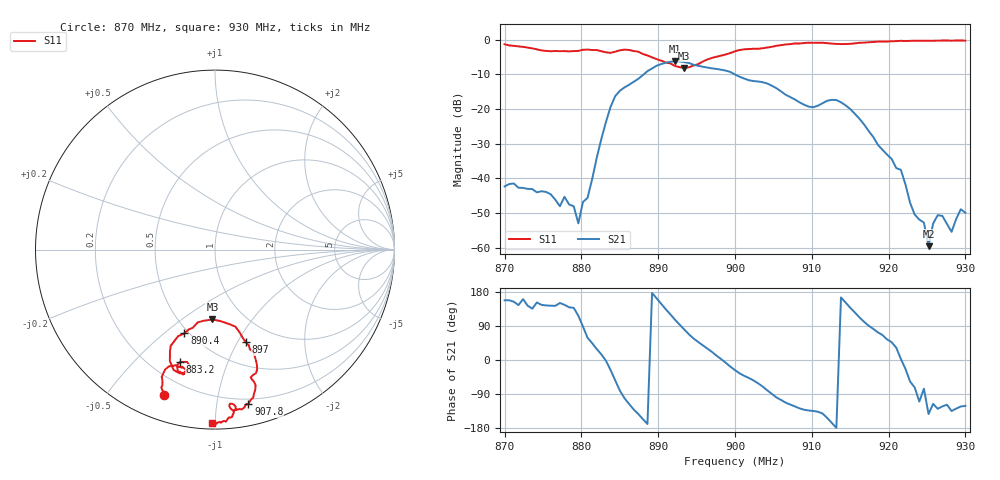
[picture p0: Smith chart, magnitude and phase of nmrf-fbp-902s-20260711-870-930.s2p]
# HZ S RI R 50
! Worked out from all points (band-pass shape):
!   101 points, 870 MHz to 930 MHz, reference 50 ohm
!   highest |S21| = -6.22 dB at 892.2 MHz (marker M1); lowest = -59.5 dB at 925.2 MHz (marker M2)
!   |S21| within 3 dB of the highest: 888.5 MHz to 899.2 MHz (10.72 MHz wide, 1.2 % of centre)
!   lowest |S11| = -8.2 dB at 893.4 MHz (marker M3), VSWR 2.28, Z = 35.9 - j33 ohm
!   |S11| at or under -10 dB: nowhere
!   S12 and S22 are empty: the file has one direction only
!   S11 on the Smith chart (normalised r, x): 870 MHz: 0.11, -0.70; 883.2 MHz: 0.31, -0.69; 890.4 MHz: 0.47, -0.59; 897 MHz: 0.74, -1.09; 907.8 MHz: 0.16, -1.23; 930 MHz: 0.03, -0.98
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8.7e8  -0.2815 -0.8103  -0.00712 0.00294  0 0  0 0
8.778e8  -0.1856 -0.658  -0.00449 0.00308  0 0  0 0
8.796e8  -0.1608 -0.6684  -0.00102 0.00202  0 0  0 0
8.802e8  -0.1704 -0.6937  0.000128 0.00458  0 0  0 0
8.808e8  -0.1785 -0.6956  0.00274 0.00449  0 0  0 0
8.832e8  -0.1953 -0.6259  0.0653 -0.00238  0 0  0 0
8.844e8  -0.1382 -0.6551  0.0908 -0.1234  0 0  0 0
8.868e8  -0.2434 -0.6402  -0.1598 -0.188  0 0  0 0
8.904e8  -0.1709 -0.4667  -0.3774 0.2354  0 0  0 0
8.922e8  -0.0961 -0.4056  -0.1347 0.4699  0 0  0 0
8.934e8  -0.0143 -0.3894  0.0799 0.4669  0 0  0 0
8.97e8  0.1731 -0.517  0.3586 0.1403  0 0  0 0
9e8  0.2332 -0.6387  0.2807 -0.1417  0 0  0 0
9.078e8  0.1857 -0.8612  -0.0736 -0.1157  0 0  0 0
9.102e8  0.1357 -0.8881  -0.0744 -0.0759  0 0  0 0
9.144e8  0.0952 -0.8586  -0.0996 0.0537  0 0  0 0
9.204e8  0.071 -0.943  0.0131 0.0139  0 0  0 0
9.246e8  0.0304 -0.964  0.00057 -0.00224  0 0  0 0
9.252e8  0.0222 -0.9607  -0.000841 -0.000645  0 0  0 0
9.264e8  0.0125 -0.9652  -0.00185 -0.00231  0 0  0 0
9.282e8  0.00291 -0.9642  -0.0012 -0.00121  0 0  0 0
9.3e8  -0.0163 -0.9677  -0.00166 -0.00275  0 0  0 0
